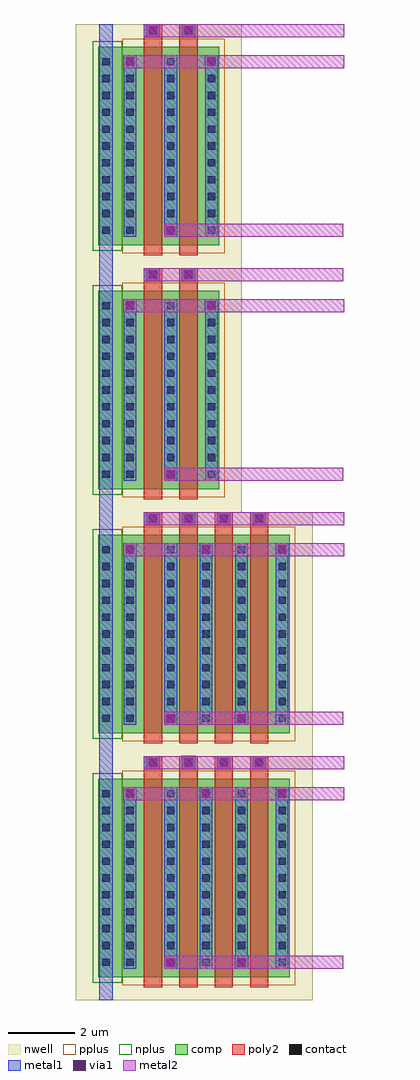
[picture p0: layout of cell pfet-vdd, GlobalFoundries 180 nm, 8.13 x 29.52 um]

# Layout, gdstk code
from math import pi, radians
import gdstk
lib = gdstk.Library(unit=1e-6, precision=1e-09)
def R(c, l, rs):  # rectangles x0, y0, x1, y1
    for r in rs: c.add(gdstk.rectangle(r[:2], r[2:], *l))
def A(c, l, x, y, w, h, nx, ny, dx, dy):  # array of equal rectangles
    R(c, l, [(x+i*dx, y+j*dy, x+i*dx+w, y+j*dy+h) for i in range(nx) for j in range(ny)])
nwell = (21, 0)
comp = (22, 0)
poly2 = (30, 0)
pplus = (31, 0)
nplus = (32, 0)
contact = (33, 0)
metal1 = (34, 0)
via1 = (35, 0)
metal2 = (36, 0)

pfet = lib.new_cell('pfet')
R(pfet, nwell, [(-1.15,-0.69,3.88,6.69)])
R(pfet, comp, [(-0.46,0,0,6), (0,0,2,6), (2,0,2.46,6), (2.46,0,3.19,6)])
R(pfet, poly2, [(0.19,-0.3,0.74,6.3), (1.26,-0.3,1.81,6.3), (0.19,6.3,0.74,6.68), (1.26,6.3,1.81,6.68)])
R(pfet, pplus, [(-0.63,-0.24,2.46,6.24)])
R(pfet, nplus, [(2.46,-0.17,3.36,6.17)])
A(pfet, contact, -0.34, 0.34, 0.22, 0.22, 3, 11, 1.23, 0.51)
A(pfet, contact, 2.85, 0.34, 0.22, 0.22, 1, 11, 0, 0.51)
R(pfet, contact, [(0.355,6.38,0.575,6.6), (1.425,6.38,1.645,6.6)])
A(pfet, metal1, -0.42, 0.26, 0.38, 5.48, 3, 1, 1.23, 0)
R(pfet, metal1, [(2.77,0.26,3.15,5.74), (0.275,6.299,0.655,6.681), (1.345,6.299,1.725,6.681)])

pfet_1 = lib.new_cell('pfet$1')
R(pfet_1, nwell, [(-1.15,-0.69,6.02,6.69)])
R(pfet_1, comp, [(-0.46,0,0,6), (0,0,4.14,6), (4.14,0,4.6,6), (4.6,0,5.33,6)])
A(pfet_1, poly2, 0.19, -0.3, 0.55, 6.6, 4, 1, 1.07, 0)
A(pfet_1, poly2, 0.19, 6.3, 0.55, 0.38, 4, 1, 1.07, 0)
R(pfet_1, pplus, [(-0.63,-0.24,4.6,6.24)])
R(pfet_1, nplus, [(4.6,-0.17,5.5,6.17)])
A(pfet_1, contact, -0.34, 0.34, 0.22, 0.22, 1, 11, 0, 0.51)
A(pfet_1, contact, 0.89, 0.34, 0.22, 0.22, 3, 11, 1.07, 0.51)
A(pfet_1, contact, 4.26, 0.34, 0.22, 0.22, 1, 11, 0, 0.51)
A(pfet_1, contact, 4.99, 0.34, 0.22, 0.22, 1, 11, 0, 0.51)
A(pfet_1, contact, 0.355, 6.38, 0.22, 0.22, 4, 1, 1.07, 0)
A(pfet_1, metal1, 0.81, 0.26, 0.38, 5.48, 3, 1, 1.07, 0)
A(pfet_1, metal1, 0.275, 6.299, 0.38, 0.382, 4, 1, 1.07, 0)
R(pfet_1, metal1, [(-0.42,0.26,-0.04,5.74), (4.18,0.26,4.56,5.74), (4.91,0.26,5.29,5.74)])

via_dev = lib.new_cell('via_dev')
R(via_dev, metal1, [(0,0,0.4,0.4)])
R(via_dev, via1, [(0.07,0.07,0.33,0.33)])
R(via_dev, metal2, [(0,0,0.4,0.4)])

pfet_vdd = lib.new_cell('pfet-vdd')
pfet_vdd.add(gdstk.FlexPath([(-0.08,5.5),(-0.08,5.445)], 0.4, ends=(0, 29.465), simple_path=True, layer=34, datatype=0))  # metal1
pfet_vdd.add(gdstk.FlexPath([(1.07,-16.84),(1.13,-16.84)], 0.4, ends=(0, 6), simple_path=True, layer=36, datatype=0))  # metal2
pfet_vdd.add(gdstk.FlexPath([(1.07,-9.46),(1.125,-9.46)], 0.4, ends=(0, 6), simple_path=True, layer=36, datatype=0))  # metal2
pfet_vdd.add(gdstk.FlexPath([(1.07,-2.08),(1.1,-2.08)], 0.4, ends=(0, 6), simple_path=True, layer=36, datatype=0))  # metal2
pfet_vdd.add(gdstk.FlexPath([(1.07,5.3),(1.135,5.3)], 0.4, ends=(0, 6), simple_path=True, layer=36, datatype=0))  # metal2
pfet_vdd.add(gdstk.FlexPath([(4.04,-3.02),(0.45,-3.02)], 0.4, ends=(3.09, 0), simple_path=True, layer=36, datatype=0))  # metal2
pfet_vdd.add(gdstk.FlexPath([(4.04,-10.4),(0.45,-10.4)], 0.4, ends=(3.09, 0), simple_path=True, layer=36, datatype=0))  # metal2
pfet_vdd.add(gdstk.FlexPath([(4.04,-17.78),(0.45,-17.78)], 0.4, ends=(3.09, 0), simple_path=True, layer=36, datatype=0))  # metal2
pfet_vdd.add(gdstk.FlexPath([(1.68,-0.74),(1.74,-0.74)], 0.4, ends=(0, 5.36), simple_path=True, layer=36, datatype=0))  # metal2
pfet_vdd.add(gdstk.FlexPath([(1.68,-8.12),(1.74,-8.12)], 0.4, ends=(0, 5.36), simple_path=True, layer=36, datatype=0))  # metal2
pfet_vdd.add(gdstk.FlexPath([(1.68,-15.5),(1.74,-15.5)], 0.4, ends=(0, 5.36), simple_path=True, layer=36, datatype=0))  # metal2
pfet_vdd.add(gdstk.FlexPath([(1.68,-22.88),(1.74,-22.88)], 0.4, ends=(0, 5.36), simple_path=True, layer=36, datatype=0))  # metal2
pfet_vdd.add(gdstk.FlexPath([(4.04,4.36),(0.45,4.36)], 0.4, ends=(3.09, 0), simple_path=True, layer=36, datatype=0))  # metal2
pfet_vdd.add(gdstk.Reference(pfet, (2.88,-8.57), rotation=pi, x_reflection=True))
pfet_vdd.add(gdstk.Reference(pfet_1, (5.02,-15.95), rotation=pi, x_reflection=True))
pfet_vdd.add(gdstk.Reference(pfet_1, (5.02,-23.33), rotation=pi, x_reflection=True))
pfet_vdd.add(gdstk.Reference(pfet, (2.88,-1.19), rotation=pi, x_reflection=True))
pfet_vdd.add(gdstk.Reference(via_dev, (1.145,5.1)))
pfet_vdd.add(gdstk.Reference(via_dev, (2.215,5.1)))
pfet_vdd.add(gdstk.Reference(via_dev, (1.145,-2.28)))
pfet_vdd.add(gdstk.Reference(via_dev, (2.215,-2.28)))
pfet_vdd.add(gdstk.Reference(via_dev, (1.145,-17.04)))
pfet_vdd.add(gdstk.Reference(via_dev, (1.145,-9.66)))
pfet_vdd.add(gdstk.Reference(via_dev, (2.215,-9.66)))
pfet_vdd.add(gdstk.Reference(via_dev, (3.285,-9.66)))
pfet_vdd.add(gdstk.Reference(via_dev, (4.355,-9.66)))
pfet_vdd.add(gdstk.Reference(via_dev, (2.215,-17.035)))
pfet_vdd.add(gdstk.Reference(via_dev, (3.285,-17.04)))
pfet_vdd.add(gdstk.Reference(via_dev, (4.355,-17.04)))
pfet_vdd.add(gdstk.Reference(via_dev, (1.68,-0.94)))
pfet_vdd.add(gdstk.Reference(via_dev, (0.45,4.16)))
pfet_vdd.add(gdstk.Reference(via_dev, (2.91,4.16)))
pfet_vdd.add(gdstk.Reference(via_dev, (0.45,-3.22)))
pfet_vdd.add(gdstk.Reference(via_dev, (2.91,-3.22)))
pfet_vdd.add(gdstk.Reference(via_dev, (1.68,-8.32)))
pfet_vdd.add(gdstk.Reference(via_dev, (0.45,-10.6)))
pfet_vdd.add(gdstk.Reference(via_dev, (2.75,-10.6)))
pfet_vdd.add(gdstk.Reference(via_dev, (5.05,-10.6)))
pfet_vdd.add(gdstk.Reference(via_dev, (1.68,-15.7)))
pfet_vdd.add(gdstk.Reference(via_dev, (3.82,-15.7)))
pfet_vdd.add(gdstk.Reference(via_dev, (0.45,-17.98)))
pfet_vdd.add(gdstk.Reference(via_dev, (2.75,-17.98)))
pfet_vdd.add(gdstk.Reference(via_dev, (5.05,-17.98)))
pfet_vdd.add(gdstk.Reference(via_dev, (1.68,-23.08)))
pfet_vdd.add(gdstk.Reference(via_dev, (3.82,-23.08)))

lib.write_gds('pfet-vdd.gds')
